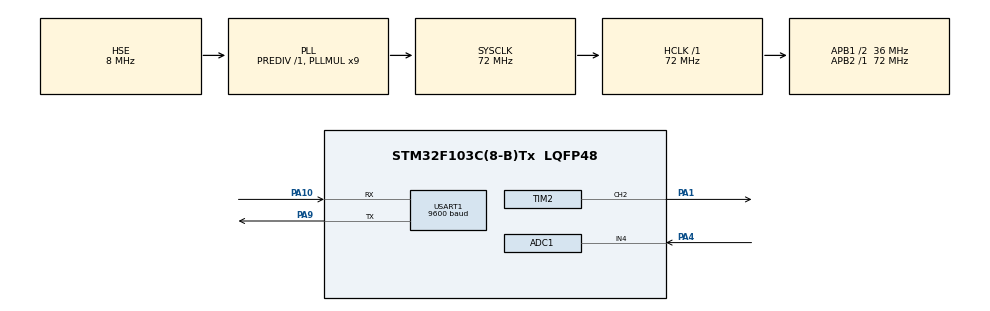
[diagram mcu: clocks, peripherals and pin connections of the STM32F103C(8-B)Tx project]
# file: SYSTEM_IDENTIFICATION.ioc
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ADC1.Channel-0\#ChannelRegularConversion=ADC_CHANNEL_4
ADC1.ContinuousConvMode=ENABLE
ADC1.InjNumberOfConversion=0
ADC1.NbrOfConversion=1
ADC1.NbrOfConversionFlag=1
ADC1.Rank-0\#ChannelRegularConversion=1
ADC1.SamplingTime-0\#ChannelRegularConversion=ADC_SAMPLETIME_1CYCLE_5
ADC1.master=1
FREERTOS.HEAP_NUMBER=3
FREERTOS.Tasks01=CurrentRead,3,128,StartTaskCurrentRead,Default,NULL,Dynamic,NULL,NULL;SystemIdentific,3,128,StartTaskSystemIdentification,Default,NULL,Dynamic,NULL,NULL
Mcu.Family=STM32F1
Mcu.Name=STM32F103C(8-B)Tx
Mcu.Package=LQFP48
NVIC.ADC1_2_IRQn=true\:5\:0\:false\:false\:true\:true\:true
NVIC.PriorityGroup=NVIC_PRIORITYGROUP_4
NVIC.TIM1_UP_IRQn=true\:0\:0\:false\:false\:true\:false\:false
NVIC.TimeBase=TIM1_UP_IRQn
NVIC.TimeBaseIP=TIM1
PA1.Signal=S_TIM2_CH2
PA10.Mode=Asynchronous
PA10.Signal=USART1_RX
PA13.Mode=Serial_Wire
PA13.Signal=SYS_JTMS-SWDIO
PA14.Mode=Serial_Wire
PA14.Signal=SYS_JTCK-SWCLK
PA4.Signal=ADCx_IN4
PA9.Mode=Asynchronous
PA9.Signal=USART1_TX
PD0-OSC_IN.Mode=HSE-External-Oscillator
PD0-OSC_IN.Signal=RCC_OSC_IN
PD1-OSC_OUT.Mode=HSE-External-Oscillator
PD1-OSC_OUT.Signal=RCC_OSC_OUT
ProjectManager.HeapSize=0x200
ProjectManager.StackSize=0x400
ProjectManager.TargetToolchain=SW4STM32
RCC.ADCPresc=RCC_ADCPCLK2_DIV6
RCC.AHBFreq_Value=72000000
RCC.APB1CLKDivider=RCC_HCLK_DIV2
RCC.APB1Freq_Value=36000000
RCC.APB1TimFreq_Value=72000000
RCC.APB2Freq_Value=72000000
RCC.APB2TimFreq_Value=72000000
RCC.HCLKFreq_Value=72000000
RCC.PLLMUL=RCC_PLL_MUL9
RCC.PLLSourceVirtual=RCC_PLLSOURCE_HSE
RCC.SYSCLKFreq_VALUE=72000000
RCC.SYSCLKSource=RCC_SYSCLKSOURCE_PLLCLK
RCC.USBFreq_Value=48000000
RCC.USBPrescaler=RCC_USBCLKSOURCE_PLL_DIV1_5
SH.ADCx_IN4.0=ADC1_IN4,IN4
SH.S_TIM2_CH2.0=TIM2_CH2,PWM Generation2 CH2
TIM2.Channel-PWM\ Generation2\ CH2=TIM_CHANNEL_2
TIM2.Period=99
TIM2.Prescaler=9
USART1.BaudRate=9600
USART1.VirtualMode=VM_ASYNC
VP_FREERTOS_VS_ENABLE.Mode=Enabled
VP_SYS_VS_tim1.Mode=TIM1
VP_TIM2_VS_ClockSourceINT.Mode=Internal
board=custom

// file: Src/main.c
/* USER CODE BEGIN Header */
/**
  ******************************************************************************
  * @file           : main.c
  * @brief          : Main program body
  ******************************************************************************
  * This notice applies to any and all portions of this file
  * that are not between comment pairs USER CODE BEGIN and
  * USER CODE END. Other portions of this file, whether
  * inserted by the user or by software development tools
  * are owned by their respective copyright owners.
  *
  * Copyright (c) 2019 STMicroelectronics International N.V.
  * All rights reserved.
  *
  * Redistribution and use in source and binary forms, with or without
  * modification, are permitted, provided that the following conditions are met:
  *
  * 1. Redistribution of source code must retain the above copyright notice,
  *    this list of conditions and the following disclaimer.
  * 2. Redistributions in binary form must reproduce the above copyright notice,
  *    this list of conditions and the following disclaimer in the documentation
  *    and/or other materials provided with the distribution.
  * 3. Neither the name of STMicroelectronics nor the names of other
  *    contributors to this software may be used to endorse or promote products
  *    derived from this software without specific written permission.
  * 4. This software, including modifications and/or derivative works of this
  *    software, must execute solely and exclusively on microcontroller or
  *    microprocessor devices manufactured by or for STMicroelectronics.
  * 5. Redistribution and use of this software other than as permitted under
  *    this license is void and will automatically terminate your rights under
  *    this license.
  *
  * THIS SOFTWARE IS PROVIDED BY STMICROELECTRONICS AND CONTRIBUTORS "AS IS"
  * AND ANY EXPRESS, IMPLIED OR STATUTORY WARRANTIES, INCLUDING, BUT NOT
  * LIMITED TO, THE IMPLIED WARRANTIES OF MERCHANTABILITY, FITNESS FOR A
  * PARTICULAR PURPOSE AND NON-INFRINGEMENT OF THIRD PARTY INTELLECTUAL PROPERTY
  * RIGHTS ARE DISCLAIMED TO THE FULLEST EXTENT PERMITTED BY LAW. IN NO EVENT
  * SHALL STMICROELECTRONICS OR CONTRIBUTORS BE LIABLE FOR ANY DIRECT, INDIRECT,
  * INCIDENTAL, SPECIAL, EXEMPLARY, OR CONSEQUENTIAL DAMAGES (INCLUDING, BUT NOT
  * LIMITED TO, PROCUREMENT OF SUBSTITUTE GOODS OR SERVICES; LOSS OF USE, DATA,
  * OR PROFITS; OR BUSINESS INTERRUPTION) HOWEVER CAUSED AND ON ANY THEORY OF
  * LIABILITY, WHETHER IN CONTRACT, STRICT LIABILITY, OR TORT (INCLUDING
  * NEGLIGENCE OR OTHERWISE) ARISING IN ANY WAY OUT OF THE USE OF THIS SOFTWARE,
  * EVEN IF ADVISED OF THE POSSIBILITY OF SUCH DAMAGE.
  *
  ******************************************************************************
  */
/* USER CODE END Header */

#include "main.h"
#include "cmsis_os.h"

/* USER CODE BEGIN Includes */
#include "legio_sys_id.h"
/* USER CODE END Includes */

/* USER CODE BEGIN PD */
#define PWM_MAX 12 //pwm voltage when on --> 12 V (value should be defined as power input voltage)
#define FREQ 72000 // 72 kHz
#define CURRENT_READ_SAMPLE_TIME 50

/* USER CODE END PD */

ADC_HandleTypeDef hadc1;

TIM_HandleTypeDef htim2;

UART_HandleTypeDef huart1;

osThreadId CurrentReadHandle;
osThreadId SystemIdentificHandle;
/* USER CODE BEGIN PV */

//global variables
float current_value;
int adc_offset;
int dutycycle;

/* USER CODE END PV */

void SystemClock_Config(void);
static void MX_GPIO_Init(void);
static void MX_USART1_UART_Init(void);
static void MX_TIM2_Init(void);
static void MX_ADC1_Init(void);
void StartTaskCurrentRead(void const * argument);
void StartTaskSystemIdentification(void const * argument);

int main(void)
{

  /* MCU Configuration--------------------------------------------------------*/

  /* Reset of all peripherals, Initializes the Flash interface and the Systick. */
  HAL_Init();

  /* Configure the system clock */
  SystemClock_Config();

  /* Initialize all configured peripherals */
  MX_GPIO_Init();
  MX_USART1_UART_Init();
  MX_TIM2_Init();
  MX_ADC1_Init();
  /* USER CODE BEGIN 2 */

  //write_system_config_to_sd(); //write script definition and system configurations
  adc_offset = current_sensor_offsetting(); //gets current reading when no current is applied

  /* USER CODE END 2 */

  /* Create the thread(s) */
  /* definition and creation of CurrentRead */
  osThreadDef(CurrentRead, StartTaskCurrentRead, osPriorityRealtime, 0, 128);
  CurrentReadHandle = osThreadCreate(osThread(CurrentRead), NULL);

  /* definition and creation of SystemIdentific */
  osThreadDef(SystemIdentific, StartTaskSystemIdentification, osPriorityRealtime, 0, 128);
  SystemIdentificHandle = osThreadCreate(osThread(SystemIdentific), NULL);

  /* Start scheduler */
  osKernelStart();

  /* We should never get here as control is now taken by the scheduler */

  /* Infinite loop */
  while (1)
  {

  }
}

void SystemClock_Config(void)
{
  RCC_OscInitTypeDef RCC_OscInitStruct = {0};
  RCC_ClkInitTypeDef RCC_ClkInitStruct = {0};
  RCC_PeriphCLKInitTypeDef PeriphClkInit = {0};

  /**Initializes the CPU, AHB and APB busses clocks
  */
  RCC_OscInitStruct.OscillatorType = RCC_OSCILLATORTYPE_HSE;
  RCC_OscInitStruct.HSEState = RCC_HSE_ON;
  RCC_OscInitStruct.HSEPredivValue = RCC_HSE_PREDIV_DIV1;
  RCC_OscInitStruct.HSIState = RCC_HSI_ON;
  RCC_OscInitStruct.PLL.PLLState = RCC_PLL_ON;
  RCC_OscInitStruct.PLL.PLLSource = RCC_PLLSOURCE_HSE;
  RCC_OscInitStruct.PLL.PLLMUL = RCC_PLL_MUL9;
  if (HAL_RCC_OscConfig(&RCC_OscInitStruct) != HAL_OK)
  {
    Error_Handler();
  }
  /**Initializes the CPU, AHB and APB busses clocks
  */
  RCC_ClkInitStruct.ClockType = RCC_CLOCKTYPE_HCLK|RCC_CLOCKTYPE_SYSCLK
                              |RCC_CLOCKTYPE_PCLK1|RCC_CLOCKTYPE_PCLK2;
  RCC_ClkInitStruct.SYSCLKSource = RCC_SYSCLKSOURCE_PLLCLK;
  RCC_ClkInitStruct.AHBCLKDivider = RCC_SYSCLK_DIV1;
  RCC_ClkInitStruct.APB1CLKDivider = RCC_HCLK_DIV2;
  RCC_ClkInitStruct.APB2CLKDivider = RCC_HCLK_DIV1;

  if (HAL_RCC_ClockConfig(&RCC_ClkInitStruct, FLASH_LATENCY_2) != HAL_OK)
  {
    Error_Handler();
  }
  PeriphClkInit.PeriphClockSelection = RCC_PERIPHCLK_ADC;
  PeriphClkInit.AdcClockSelection = RCC_ADCPCLK2_DIV6;
  if (HAL_RCCEx_PeriphCLKConfig(&PeriphClkInit) != HAL_OK)
  {
    Error_Handler();
  }
}

static void MX_ADC1_Init(void)
{

  ADC_ChannelConfTypeDef sConfig = {0};

  /**Common config
  */
  hadc1.Instance = ADC1;
  hadc1.Init.ScanConvMode = ADC_SCAN_DISABLE;
  hadc1.Init.ContinuousConvMode = ENABLE;
  hadc1.Init.DiscontinuousConvMode = DISABLE;
  hadc1.Init.ExternalTrigConv = ADC_SOFTWARE_START;
  hadc1.Init.DataAlign = ADC_DATAALIGN_RIGHT;
  hadc1.Init.NbrOfConversion = 1;
  if (HAL_ADC_Init(&hadc1) != HAL_OK)
  {
    Error_Handler();
  }
  /**Configure Regular Channel
  */
  sConfig.Channel = ADC_CHANNEL_4;
  sConfig.Rank = ADC_REGULAR_RANK_1;
  sConfig.SamplingTime = ADC_SAMPLETIME_1CYCLE_5;
  if (HAL_ADC_ConfigChannel(&hadc1, &sConfig) != HAL_OK)
  {
    Error_Handler();
  }

}

static void MX_TIM2_Init(void)
{

  TIM_ClockConfigTypeDef sClockSourceConfig = {0};
  TIM_MasterConfigTypeDef sMasterConfig = {0};
  TIM_OC_InitTypeDef sConfigOC = {0};

  htim2.Instance = TIM2;
  htim2.Init.Prescaler = 9;
  htim2.Init.CounterMode = TIM_COUNTERMODE_UP;
  htim2.Init.Period = 99;
  htim2.Init.ClockDivision = TIM_CLOCKDIVISION_DIV1;
  htim2.Init.AutoReloadPreload = TIM_AUTORELOAD_PRELOAD_DISABLE;
  if (HAL_TIM_Base_Init(&htim2) != HAL_OK)
  {
    Error_Handler();
  }
  sClockSourceConfig.ClockSource = TIM_CLOCKSOURCE_INTERNAL;
  if (HAL_TIM_ConfigClockSource(&htim2, &sClockSourceConfig) != HAL_OK)
  {
    Error_Handler();
  }
  if (HAL_TIM_PWM_Init(&htim2) != HAL_OK)
  {
    Error_Handler();
  }
  sMasterConfig.MasterOutputTrigger = TIM_TRGO_RESET;
  sMasterConfig.MasterSlaveMode = TIM_MASTERSLAVEMODE_DISABLE;
  if (HAL_TIMEx_MasterConfigSynchronization(&htim2, &sMasterConfig) != HAL_OK)
  {
    Error_Handler();
  }
  sConfigOC.OCMode = TIM_OCMODE_PWM1;
  sConfigOC.Pulse = 0;
  sConfigOC.OCPolarity = TIM_OCPOLARITY_HIGH;
  sConfigOC.OCFastMode = TIM_OCFAST_DISABLE;
  if (HAL_TIM_PWM_ConfigChannel(&htim2, &sConfigOC, TIM_CHANNEL_2) != HAL_OK)
  {
    Error_Handler();
  }
  HAL_TIM_MspPostInit(&htim2);

}

static void MX_USART1_UART_Init(void)
{

  huart1.Instance = USART1;
  huart1.Init.BaudRate = 9600;
  huart1.Init.WordLength = UART_WORDLENGTH_8B;
  huart1.Init.StopBits = UART_STOPBITS_1;
  huart1.Init.Parity = UART_PARITY_NONE;
  huart1.Init.Mode = UART_MODE_TX_RX;
  huart1.Init.HwFlowCtl = UART_HWCONTROL_NONE;
  huart1.Init.OverSampling = UART_OVERSAMPLING_16;
  if (HAL_UART_Init(&huart1) != HAL_OK)
  {
    Error_Handler();
  }

}

static void MX_GPIO_Init(void)
{

  /* GPIO Ports Clock Enable */
  __HAL_RCC_GPIOD_CLK_ENABLE();
  __HAL_RCC_GPIOA_CLK_ENABLE();

}

void StartTaskCurrentRead(void const * argument)
{

  /* USER CODE BEGIN 5 */
  int adc_value;
  float read_voltage;
  float voltage_offset;

  voltage_offset = (adc_offset)*(3300/4095.0); //voltage offset value

  HAL_ADC_Start(&hadc1); //start adc channel

  /* Infinite loop */
	for(;;)
	  {
		HAL_ADC_PollForConversion(&hadc1, 100); //wait for conversion
		adc_value = HAL_ADC_GetValue(&hadc1);
		read_voltage = (adc_value)*(3300/4095.0); //value in mV
		current_value = (voltage_offset - read_voltage)/(185); //result in mA
		current_value = 2*current_value; //multiples by 2 to scale for current division
		write_current(current_value); //writes to sd card
		osDelay(CURRENT_READ_SAMPLE_TIME);
	  }
  /* USER CODE END 5 */
}

/* USER CODE BEGIN Header_StartTaskSystemIdentification */
/**
* @brief Function implementing the SystemIdentific thread.
* @param argument: Not used
* @retval None
*/

/*This function generates a PWM signal of 5 V average value for 5 seconds, then turns it off for 5 seconds
 * It was intended to identify system response to a 'step' input, as read by the current sensor.
 * Stills needs validation.
 */

/* USER CODE END Header_StartTaskSystemIdentification */
void StartTaskSystemIdentification(void const * argument)
{
  /* USER CODE BEGIN StartTaskSystemIdentification */

	float tau, v_avg;

	pwm_init();

	v_avg = 5;

	// Infinite loop
	for(;;)
	{
		tau = (v_avg)/((PWM_MAX)*(FREQ));
		dutycycle = (int)(tau*(FREQ)*100); //duty cycle as percentage
	    pwm_set_duty_cycle(dutycycle);
	    osDelay(5000); // signal stays either high or low for PWM_SIGNAL_DURATION
		if(v_avg == 0) {v_avg = 5;}
		else {v_avg = 0;}
	}

  /* USER CODE END StartTaskSystemIdentification */
}

void HAL_TIM_PeriodElapsedCallback(TIM_HandleTypeDef *htim)
{
  if (htim->Instance == TIM1) {
    HAL_IncTick();
  }
}

void Error_Handler(void)
{
}

/************************ (C) COPYRIGHT STMicroelectronics *****END OF FILE****/
